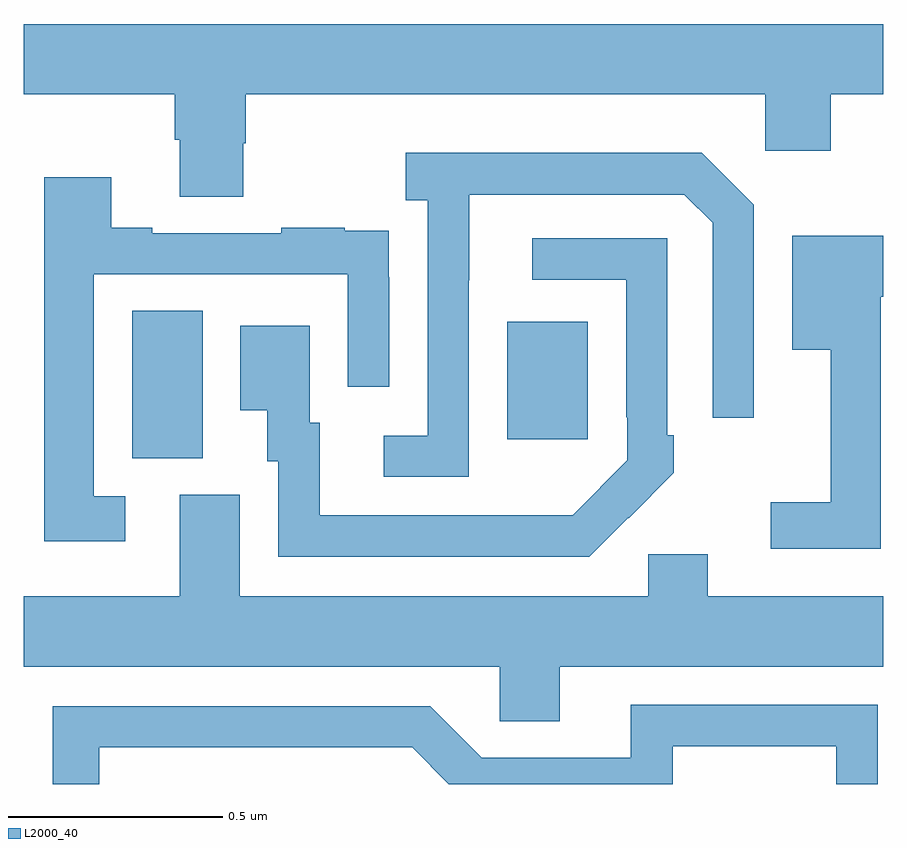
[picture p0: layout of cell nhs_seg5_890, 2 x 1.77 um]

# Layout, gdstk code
import gdstk
lib = gdstk.Library(unit=1e-6, precision=1e-09)
def R(c, l, rs):  # rectangles x0, y0, x1, y1
    for r in rs: c.add(gdstk.rectangle(r[:2], r[2:], *l))
def P(c, l, *ps):  # polygons
    for p in ps: c.add(gdstk.Polygon(p, *l))
L2000_40 = (2000, 40)

nhs_seg5_890 = lib.new_cell('nhs_seg5_890')
R(nhs_seg5_890, L2000_40, [(122.252,878.557,122.416,878.9), (123.125,878.601,123.313,878.875)])
P(nhs_seg5_890, L2000_40, [(122.511,879.291),(122.516,879.291),(122.516,879.404),(123.726,879.404),(123.726,879.273),(123.878,879.273),(123.878,879.404),(124,879.404),(124,879.568),(122,879.568),(122,879.404),(122.351,879.404),(122.351,879.298),(122.363,879.298),(122.363,879.166),(122.511,879.166)],
  [(123.036,878.971),(123.037,878.971),(123.037,879.171),(123.537,879.171),(123.603,879.105),(123.603,878.652),(123.699,878.652),(123.699,879.147),(123.578,879.268),(122.889,879.268),(122.889,879.158),(122.94,879.158),(122.94,878.61),(122.838,878.61),(122.838,878.514),(123.036,878.514)],
  [(122.236,878.469),(122.163,878.469),(122.163,878.985),(122.754,878.985),(122.754,878.724),(122.85,878.724),(122.85,878.978),(122.849,878.978),(122.849,879.087),(122.747,879.087),(122.747,879.094),(122.599,879.094),(122.599,879.081),(122.299,879.081),(122.299,879.094),(122.203,879.094),(122.203,879.211),(122.047,879.211),(122.047,878.364),(122.236,878.364)],
  [(123.995,878.933),(124,878.933),(124,879.075),(123.788,879.075),(123.788,878.81),(123.878,878.81),(123.878,878.455),(123.738,878.455),(123.738,878.346),(123.995,878.346)],
  [(123.407,878.419),(123.408,878.418),(123.513,878.523),(123.513,878.611),(123.498,878.611),(123.498,879.069),(123.183,879.069),(123.183,878.973),(123.402,878.973),(123.402,878.653),(123.405,878.653),(123.405,878.553),(123.277,878.425),(123.173,878.425),(123.173,878.424),(122.689,878.424),(122.689,878.64),(122.665,878.64),(122.665,878.866),(122.504,878.866),(122.504,878.669),(122.567,878.669),(122.567,878.55),(122.592,878.55),(122.592,878.328),(123.316,878.328)],
  [(123.247,878.072),(124,878.072),(124,878.236),(123.592,878.236),(123.592,878.334),(123.453,878.334),(123.453,878.236),(122.503,878.236),(122.503,878.472),(122.363,878.472),(122.363,878.236),(122,878.236),(122,878.072),(123.108,878.072),(123.108,877.945),(123.247,877.945)],
  [(122.175,877.884),(122.904,877.884),(122.989,877.799),(123.51,877.799),(123.51,877.887),(123.891,877.887),(123.891,877.799),(123.987,877.799),(123.987,877.983),(123.413,877.983),(123.413,877.86),(123.066,877.86),(122.946,877.98),(122.067,877.98),(122.067,877.799),(122.175,877.799)])

lib.write_gds('nhs_seg5_890.gds')
